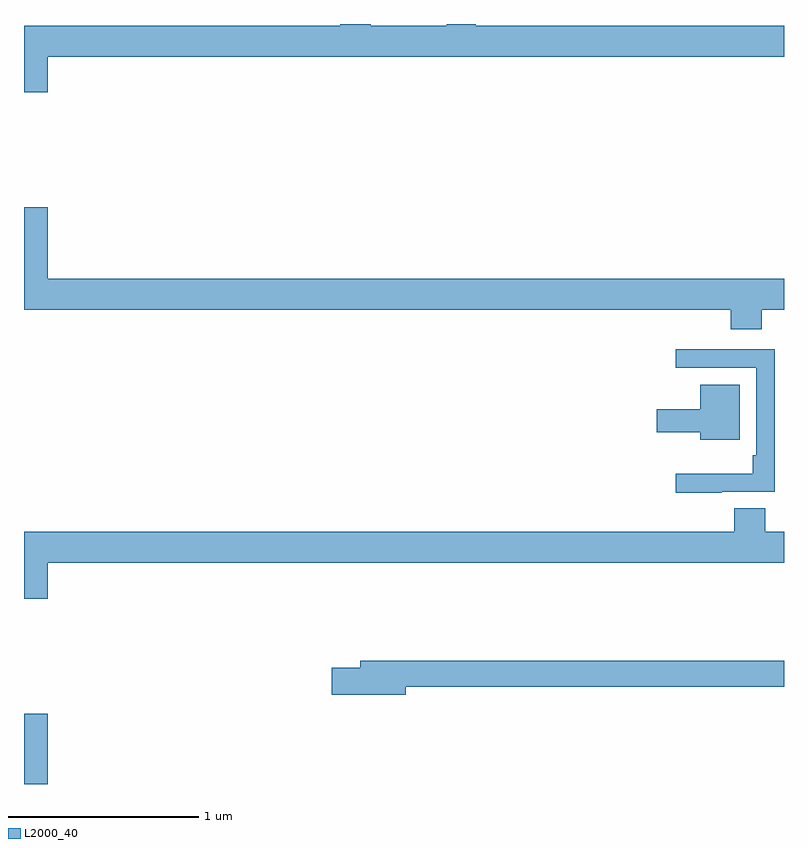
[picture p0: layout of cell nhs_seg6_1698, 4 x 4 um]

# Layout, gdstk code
import gdstk
lib = gdstk.Library(unit=1e-6, precision=1e-09)
def R(c, l, rs):  # rectangles x0, y0, x1, y1
    for r in rs: c.add(gdstk.rectangle(r[:2], r[2:], *l))
def P(c, l, *ps):  # polygons
    for p in ps: c.add(gdstk.Polygon(p, *l))
L2000_40 = (2000, 40)

nhs_seg6_1698 = lib.new_cell('nhs_seg6_1698')
R(nhs_seg6_1698, L2000_40, [(213,951.5,213.124,951.871)])
P(nhs_seg6_1698, L2000_40, [(213.124,955.328),(217,955.328),(217,955.492),(215.378,955.492),(215.378,955.5),(215.225,955.5),(215.225,955.492),(214.824,955.492),(214.824,955.5),(214.664,955.5),(214.664,955.492),(213,955.492),(213,955.14),(213.124,955.14)],
  [(216.884,953.996),(217,953.996),(217,954.16),(213.124,954.16),(213.124,954.535),(213,954.535),(213,953.996),(216.719,953.996),(216.719,953.894),(216.884,953.894)],
  [(216.673,953.037),(216.951,953.037),(216.951,953.787),(216.429,953.787),(216.429,953.691),(216.855,953.691),(216.855,953.23),(216.835,953.23),(216.835,953.134),(216.429,953.134),(216.429,953.033),(216.673,953.033)],
  [(216.766,953.602),(216.56,953.602),(216.56,953.473),(216.33,953.473),(216.33,953.351),(216.56,953.351),(216.56,953.312),(216.766,953.312)],
  [(213.124,952.664),(217,952.664),(217,952.828),(216.902,952.828),(216.902,952.952),(216.737,952.952),(216.737,952.828),(213,952.828),(213,952.476),(213.124,952.476)],
  [(215.008,952.012),(217,952.012),(217,952.148),(214.769,952.148),(214.769,952.112),(214.62,952.112),(214.62,951.97),(215.008,951.97)])

lib.write_gds('nhs_seg6_1698.gds')
